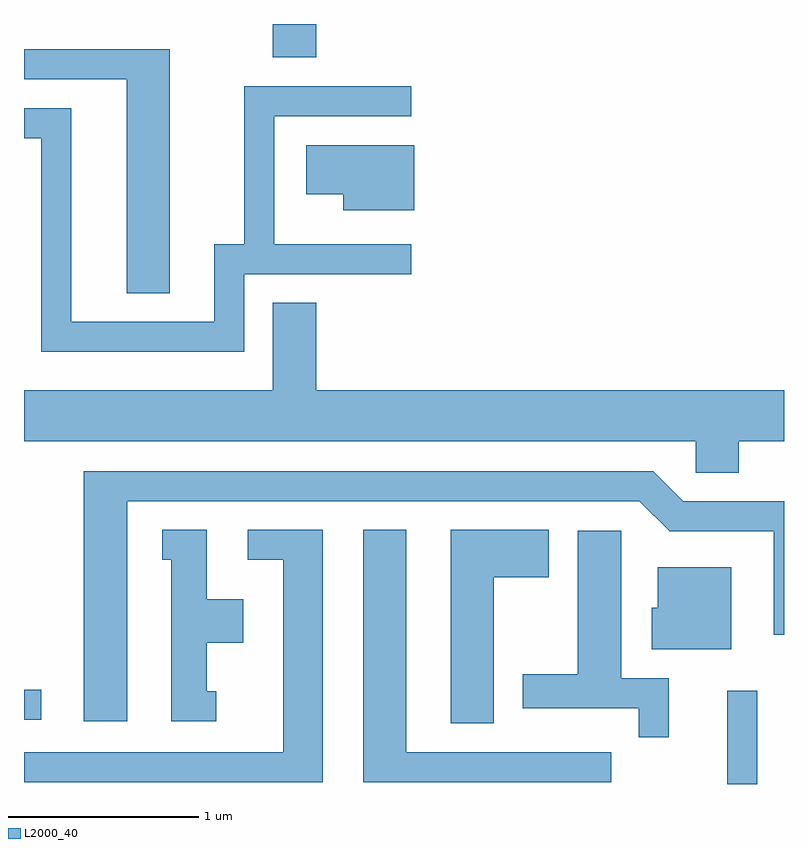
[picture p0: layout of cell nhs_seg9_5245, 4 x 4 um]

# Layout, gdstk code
import gdstk
lib = gdstk.Library(unit=1e-6, precision=1e-09)
def R(c, l, rs):  # rectangles x0, y0, x1, y1
    for r in rs: c.add(gdstk.rectangle(r[:2], r[2:], *l))
def P(c, l, *ps):  # polygons
    for p in ps: c.add(gdstk.Polygon(p, *l))
L2000_40 = (2000, 40)

nhs_seg9_5245 = lib.new_cell('nhs_seg9_5245')
R(nhs_seg9_5245, L2000_40, [(343.311,2014.432,343.469,2014.923), (339.611,2014.771,339.703,2014.929), (340.921,2018.256,341.149,2018.432)])
P(nhs_seg9_5245, L2000_40, [(340.379,2018.299),(339.611,2018.299),(339.611,2018.141),(340.151,2018.141),(340.151,2017.016),(340.379,2017.016)],
  [(340.769,2017.116),(341.648,2017.116),(341.648,2017.274),(340.929,2017.274),(340.929,2017.946),(341.648,2017.946),(341.648,2018.104),(340.771,2018.104),(340.771,2017.274),(340.611,2017.274),(340.611,2016.864),(339.859,2016.864),(339.859,2017.989),(339.611,2017.989),(339.611,2017.831),(339.701,2017.831),(339.701,2016.706),(340.769,2016.706)],
  [(341.664,2017.794),(341.096,2017.794),(341.096,2017.536),(341.291,2017.536),(341.291,2017.451),(341.664,2017.451)],
  [(343.374,2016.236),(343.611,2016.236),(343.611,2016.504),(341.149,2016.504),(341.149,2016.964),(340.921,2016.964),(340.921,2016.504),(339.611,2016.504),(339.611,2016.236),(343.146,2016.236),(343.146,2016.071),(343.374,2016.071)],
  [(340.154,2015.921),(342.849,2015.921),(343.009,2015.761),(343.556,2015.761),(343.556,2015.218),(343.611,2015.218),(343.611,2015.919),(343.082,2015.919),(342.922,2016.079),(339.926,2016.079),(339.926,2014.761),(340.154,2014.761)],
  [(341.184,2015.769),(340.788,2015.769),(340.788,2015.611),(340.976,2015.611),(340.976,2014.599),(339.611,2014.599),(339.611,2014.441),(341.184,2014.441)],
  [(342.703,2014.599),(341.624,2014.599),(341.624,2015.769),(341.396,2015.769),(341.396,2014.441),(342.703,2014.441)],
  [(342.084,2015.521),(342.374,2015.521),(342.374,2015.769),(341.856,2015.769),(341.856,2014.751),(342.084,2014.751)],
  [(340.623,2014.919),(340.574,2014.919),(340.574,2015.176),(340.764,2015.176),(340.764,2015.404),(340.574,2015.404),(340.574,2015.769),(340.338,2015.769),(340.338,2015.611),(340.386,2015.611),(340.386,2014.761),(340.623,2014.761)],
  [(343.004,2014.989),(342.754,2014.989),(342.754,2015.764),(342.526,2015.764),(342.526,2015.009),(342.236,2015.009),(342.236,2014.831),(342.846,2014.831),(342.846,2014.678),(343.004,2014.678)],
  [(343.334,2015.574),(342.946,2015.574),(342.946,2015.359),(342.916,2015.359),(342.916,2015.141),(343.334,2015.141)])

lib.write_gds('nhs_seg9_5245.gds')
